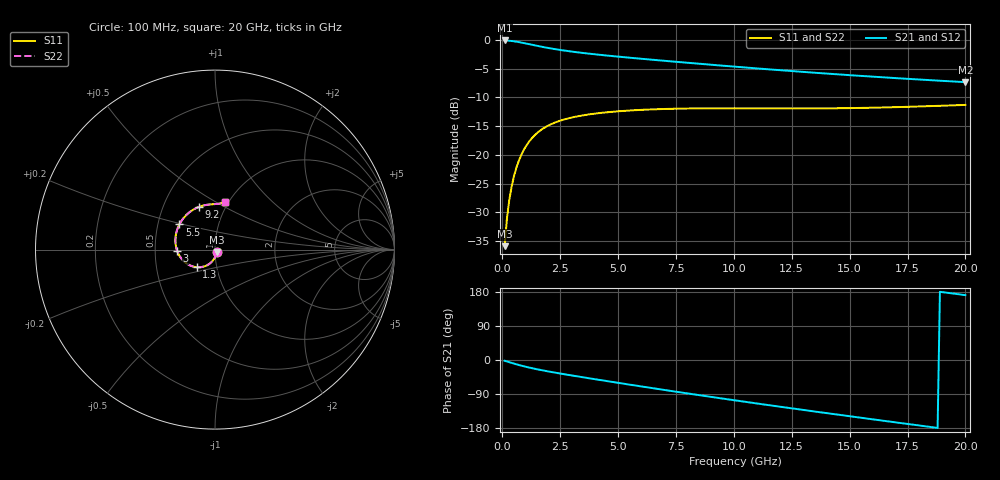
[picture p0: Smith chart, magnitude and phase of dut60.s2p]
! Touchstone file exported from HFSS 2023.1.0
!  File:  D:/Users/fzz/RDL_TSV/temp_RDL_TSV_60_1778746043.aedt
!  Generated:  4:17:20 %x4E0B%x5348  5%x6708 14, 2026
!  Design:  RDL_TSV
!  Project:  temp_RDL_TSV_60_1778746043
!  Setup:  Setup1
!  Solution:  Sweep
! Variables:
!  dtsv = 19.48um
!  hbump = 3um
!  htsv = 94.79um
!  ldown = 164.47um
!  lrdl = 314.76um
!  p = 40
!  p1 = 42.5um
!  rhole = 10um
!  subl = 1752.45um
!  t = 450um
!  tdown = 3.47um
!  trdl = 4.92um
!  viad = 10um
!  wdown = 19.18um
!  wrdl = 14.18um
!  xbump = 18um
# GHz S MA R 50.000000
! Terminal data exported
! Port[1] = TM1_1_T1
! Port[2] = TM1_4_T1
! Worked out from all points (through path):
!   200 points, 100 MHz to 20 GHz, reference 50 ohm
!   highest |S21| = -0.09 dB at 100 MHz (marker M1); lowest = -7.3 dB at 20 GHz (marker M2)
!   group delay of S21, straight-line fit = 24.9 ps
!   lowest |S11| = -35.9 dB at 100 MHz (marker M3), VSWR 1.03, Z = 50.8 - j1.38 ohm
!   |S11| at or under -10 dB: start of sweep to end of sweep
!   |S22| runs from -35.9 to -11.3 dB; largest |S21 - S12| = 1.2e-13
!   S11 on the Smith chart (normalised r, x): 100 MHz: 1.02, -0.03; 1.3 GHz: 0.80, -0.16; 3 GHz: 0.65, -0.01; 5.5 GHz: 0.65, +0.19; 9.2 GHz: 0.75, +0.38; 20 GHz: 0.96, +0.55
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0.1  0.01601 -57.6  0.9896 -1.9  0.9896 -1.9  0.01601 -57.6
! Gamma 0 0 0 0
! Port Impedance 50 0 50 0
0.2  0.02778 -77.7  0.9875 -3.9  0.9875 -3.9  0.02778 -77.7
0.3  0.04023 -88.3  0.984 -5.8  0.984 -5.8  0.04023 -88.3
0.4  0.0526 -95.9  0.9792 -7.6  0.9792 -7.6  0.05259 -95.9
0.5  0.06463 -102.0  0.9732 -9.5  0.9732 -9.5  0.06463 -102.0
0.6  0.07621 -107.4  0.9663 -11.2  0.9663 -11.2  0.07621 -107.4
0.8  0.09773 -116.8  0.9503 -14.5  0.9503 -14.5  0.09773 -116.8
1  0.1169 -125.1  0.9328 -17.6  0.9328 -17.6  0.1169 -125.1
1.3  0.1411 -136.0  0.9058 -21.9  0.9058 -21.9  0.1411 -136.0
2  0.1803 -156.5  0.8499 -30.4  0.8499 -30.4  0.1803 -156.5
3  0.2112 -178.3  0.7916 -40.8  0.7916 -40.8  0.2112 -178.3
3.5  0.2208 172.9  0.7692 -45.8  0.7692 -45.8  0.2208 172.9
5.5  0.2431 144.8  0.7002 -65.0  0.7002 -65.0  0.243 144.8
6.8  0.2499 130.8  0.6635 -77.2  0.6635 -77.2  0.2498 130.8
9.2  0.2541 111.2  0.6039 -99.0  0.6039 -99.0  0.2541 111.2
10.1  0.2541 105.5  0.5838 -107.0  0.5838 -107.0  0.2541 105.5
11.7  0.2534 97.5  0.5508 -120.8  0.5508 -120.8  0.2534 97.5
13.4  0.2533 91.2  0.5196 -135.2  0.5196 -135.2  0.2533 91.2
15  0.2549 86.9  0.4936 -148.4  0.4936 -148.4  0.2549 87.0
16.7  0.2589 83.5  0.4691 -162.3  0.4691 -162.3  0.259 83.6
18.3  0.2646 80.9  0.4486 -175.2  0.4486 -175.2  0.2646 81.0
20  0.2718 78.6  0.4291 171.1  0.4291 171.1  0.2719 78.6
